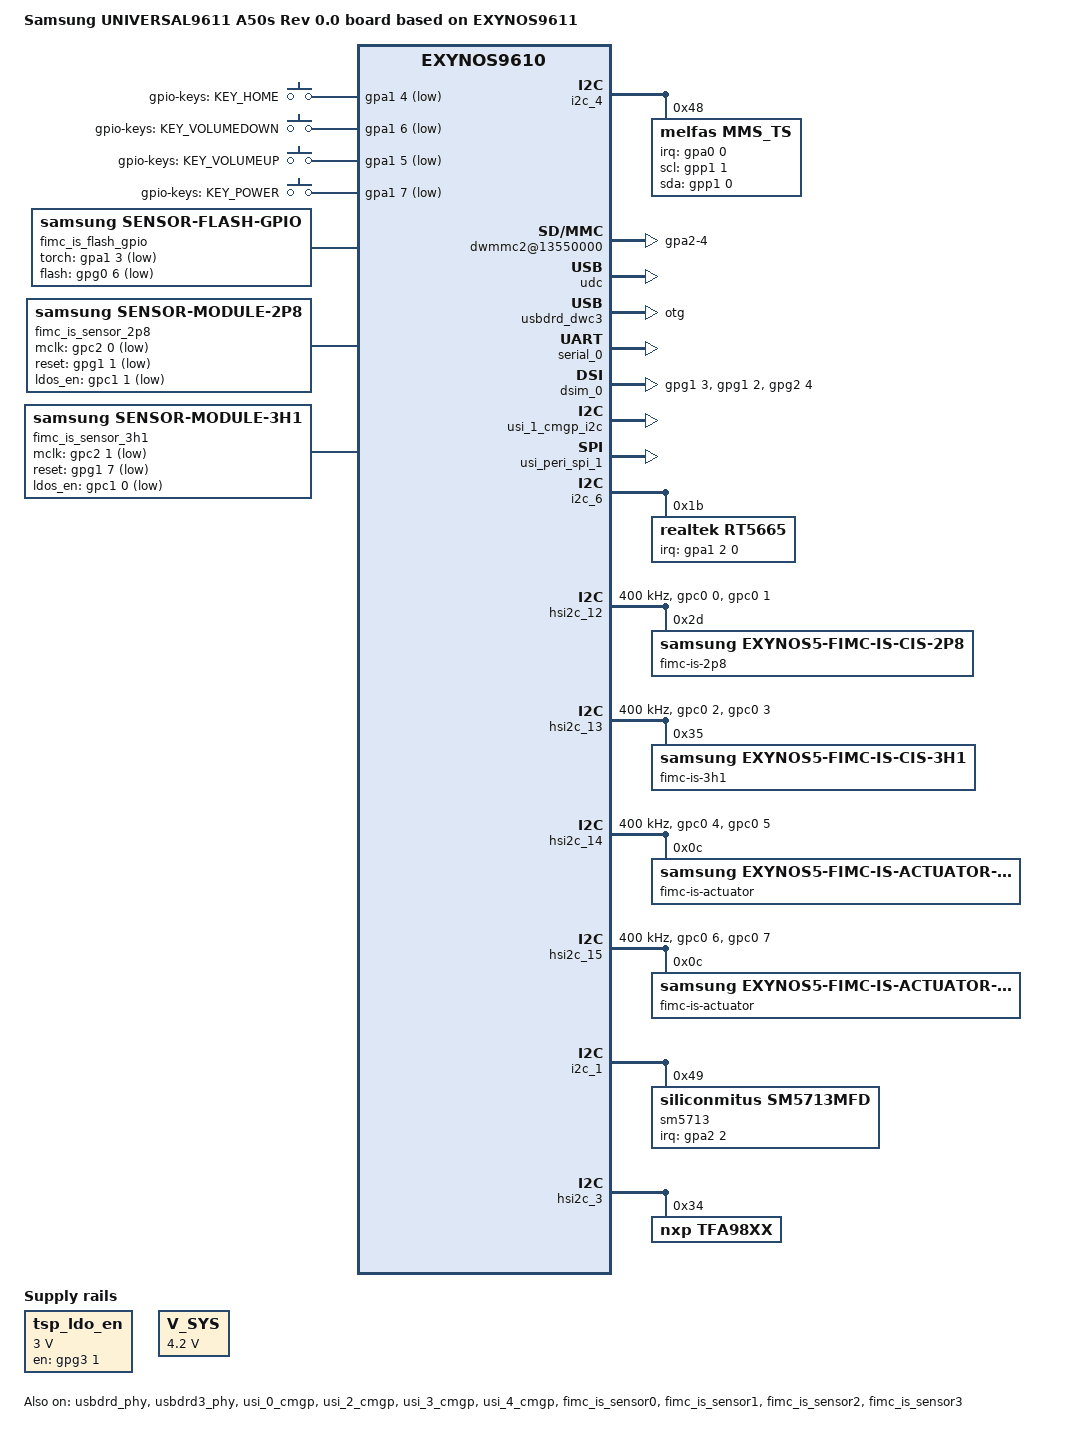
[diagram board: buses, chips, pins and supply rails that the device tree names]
/*
 * SAMSUNG EXYNOS9610 board device tree source
 *
 * Copyright (c) 2018 Samsung Electronics Co., Ltd.
 *		http://www.samsung.com
 *
 * This program is free software; you can redistribute it and/or modify
 * it under the terms of the GNU General Public License version 2 as
 * published by the Free Software Foundation.
 */

/dts-v1/;
/plugin/;

#include "exynos9610_battery_data.dtsi"
#include <dt-bindings/camera/fimc_is.h>
#include <dt-bindings/clock/exynos9610.h>
#include "modem-s337ap-sipc-pdata.dtsi"
#include "exynos9610-display-lcd.dtsi"

/ {
	compatible = "samsung,exynos9610", "samsung,UNIVERSAL9611 A50s Rev 0.0";
	board_id = <0x0>;
	board_rev = <0x0>;

	fragment@model {
		target-path = "/";
		__overlay__ {
			#address-cells = <2>;
			#size-cells = <1>;
			model = "Samsung UNIVERSAL9611 A50s Rev 0.0 board based on EXYNOS9611";

			ect {
				parameter_address = <0x90000000>;
				parameter_size = <0x19000>;
			};

			chosen {
				bootargs = "console=ram skip_initramfs rootwait ro init=/init clk_ignore_unused bcm_setup=0xffffff80f8e00000 androidboot.hardware=exynos9611 androidboot.selinux=permissive androidboot.debug_level=0x4948 firmware_class.path=/vendor/firmware ecd_setup=disable reserve-fimc=0xffffff80fa000000 pmic_info=0x3";
				linux,initrd-start = <0x84000000>;
				linux,initrd-end = <0x841FFFFF>;
			};

			fixed-rate-clocks {
				oscclk {
					compatible = "samsung,exynos9610-oscclk";
					clock-frequency = <26000000>;
				};
			};

			firmware {
				android {
					compatible = "android,firmware";
					vbmeta {
						compatible = "android,vbmeta";
						parts = "vbmeta,boot,system,vendor,product";
					};
					fstab {
						compatible = "android,fstab";
						vendor {
							compatible = "android,vendor";
							dev = "/dev/block/platform/13520000.ufs/by-name/vendor";
							type = "ext4";
							mnt_flags = "ro";
							fsmgr_flags = "wait,avb";
							status = "okay";
						};
						product {
							compatible = "android,product";
							dev = "/dev/block/platform/13520000.ufs/by-name/product";
							type = "ext4";
							mnt_flags = "ro";
							fsmgr_flags = "wait,avb";
						};
					};
				};
			};

			speedy@11a10000 {
				#address-cells = <1>;
				#size-cells = <0>;
				status = "okay";
				s2mpu09mfd@00 {
					compatible = "samsung,s2mpu09mfd";
					acpm-ipc-channel = <2>;
					i2c-speedy-address;
					s2mpu09,wakeup = "enabled";
					s2mpu09,irq-gpio = <&gpa2 0 0>;
					reg = <0x00>;
					interrupts = <2 0 0>;
					interrupt-parent = <&gpa2>;
					pinctrl-names = "default";
					pinctrl-0 = <&pmic_irq &pm_wrsti>;
					/* RTC: wtsr/smpl */
					wtsr_en = "enabled"; /* enable */
					smpl_en = "enabled"; /* enable */
					wtsr_timer_val = <3>;	/* 1000ms */
					smpl_timer_val = <4>;	/* 500ms */
					check_jigon = <0>; /* do not check jigon */
					/* RTC: If it's first boot, reset rtc to 1/1/2017 12:00:00(Sun) */
					init_time,sec = <0>;
					init_time,min = <0>;
					init_time,hour = <12>;
					init_time,mday = <1>;
					init_time,mon = <0>;
					init_time,year = <117>;
					init_time,wday = <0>;

					regulators {
						b1_reg: BUCK1 {
							regulator-name = "vdd_mif";
							regulator-min-microvolt = <500000>;
							regulator-max-microvolt = <1100000>;
							regulator-always-on;
							regulator-ramp-delay = <12000>;
							regulator-initial-mode = <2>;
						};

						b2_reg: BUCK2 {
							regulator-name = "vdd_cpucl1";
							regulator-min-microvolt = <500000>;
							regulator-max-microvolt = <1300000>;
							regulator-always-on;
							regulator-ramp-delay = <12000>;
							regulator-initial-mode = <1>;
						};

						b3_reg: BUCK3 {
							regulator-name = "vdd_cpucl0";
							regulator-min-microvolt = <500000>;
							regulator-max-microvolt = <1300000>;
							regulator-always-on;
							regulator-ramp-delay = <12000>;
							regulator-initial-mode = <1>;
						};

						b4_reg: BUCK4{
							regulator-name = "vdd_int";
							regulator-min-microvolt = <500000>;
							regulator-max-microvolt = <1100000>;
							regulator-always-on;
							regulator-ramp-delay = <12000>;
							regulator-initial-mode = <2>;
						};

						b5_reg: BUCK5 {
							regulator-name = "vdd_g3d";
							regulator-min-microvolt = <500000>;
							regulator-max-microvolt = <1200000>;
							regulator-always-on;
							regulator-ramp-delay = <12000>;
							regulator-initial-mode = <2>;
						};

						b6_reg: BUCK6 {
							regulator-name = "vdd_cam_vipx";
							regulator-min-microvolt = <500000>;
							regulator-max-microvolt = <1300000>;
							regulator-always-on;
							regulator-ramp-delay = <12000>;
							regulator-initial-mode = <2>;
						};

						b7_reg: BUCK7 {
							regulator-name = "vdd2_mem";
							regulator-min-microvolt = <500000>;
							regulator-max-microvolt = <1300000>;
							regulator-always-on;
							regulator-ramp-delay = <12000>;
							regulator-initial-mode = <3>;
						};

						b8_reg: BUCK8 {
							regulator-name = "vdd_lldo";
							regulator-min-microvolt = <1200000>;
							regulator-max-microvolt = <1500000>;
							regulator-always-on;
							regulator-ramp-delay = <12000>;
							regulator-initial-mode = <3>;
						};

						b9_reg: BUCK9 {
							regulator-name = "vdd_mldo";
							regulator-min-microvolt = <1800000>;
							regulator-max-microvolt = <2100000>;
							regulator-always-on;
							regulator-ramp-delay = <12000>;
							regulator-initial-mode = <3>;
						};

						l1_reg: LDO1 {
							regulator-name = "vdd_ldo1";
							regulator-min-microvolt = <700000>;
							regulator-max-microvolt = <1300000>;
							regulator-always-on;
							regulator-ramp-delay = <12000>;
							regulator-initial-mode = <3>;
						};

						l2_reg: LDO2 {
							regulator-name = "vqmmc";
							regulator-min-microvolt = <1800000>;
							regulator-max-microvolt = <3375000>;
							regulator-ramp-delay = <12000>;
						};

						l3_reg: LDO3 {
							regulator-name = "vdd_ldo3";
							regulator-min-microvolt = <800000>;
							regulator-max-microvolt = <1950000>;
							regulator-always-on;
							regulator-ramp-delay = <12000>;
							regulator-initial-mode = <3>;
						};

						l4_reg: LDO4 {
							regulator-name = "vdd_ldo4";
							regulator-min-microvolt = <500000>;
							regulator-max-microvolt = <1100000>;
							regulator-always-on;
							regulator-ramp-delay = <12000>;
							regulator-initial-mode = <1>;
						};

						l5_reg: LDO5 {
							regulator-name = "vdd_ldo5";
							regulator-min-microvolt = <800000>;
							regulator-max-microvolt = <1300000>;
							regulator-always-on;
							regulator-ramp-delay = <12000>;
							regulator-initial-mode = <1>;
						};

						l6_reg: LDO6 {
							regulator-name = "vdd_ldo6";
							regulator-min-microvolt = <800000>;
							regulator-max-microvolt = <1300000>;
							regulator-always-on;
							regulator-ramp-delay = <12000>;
							regulator-initial-mode = <1>;
						};

						l7_reg: LDO7 {
							regulator-name = "vdd_ldo7";
							regulator-min-microvolt = <800000>;
							regulator-max-microvolt = <1950000>;
							regulator-always-on;
							regulator-ramp-delay = <12000>;
							regulator-initial-mode = <1>;
						};

						l8_reg: LDO8 {
							regulator-name = "vdd_ldo8";
							regulator-min-microvolt = <500000>;
							regulator-max-microvolt = <1300000>;
							regulator-always-on;
							regulator-ramp-delay = <12000>;
							regulator-initial-mode = <1>;
						};

						l9_reg: LDO9 {
							regulator-name = "vdd_ldo9";
							regulator-min-microvolt = <500000>;
							regulator-max-microvolt = <1300000>;
							regulator-always-on;
							regulator-ramp-delay = <12000>;
							regulator-initial-mode = <1>;
						};

						l10_reg: LDO10 {
							regulator-name = "vdd_ldo10";
							regulator-min-microvolt = <500000>;
							regulator-max-microvolt = <1300000>;
							regulator-always-on;
							regulator-ramp-delay = <12000>;
							regulator-initial-mode = <1>;
						};

						l11_reg: LDO11 {
							regulator-name = "vdd_ldo11";
							regulator-min-microvolt = <500000>;
							regulator-max-microvolt = <1300000>;
							regulator-always-on;
							regulator-ramp-delay = <12000>;
							regulator-initial-mode = <3>;
						};

						l12_reg: LDO12 {
							regulator-name = "vdd_ldo12";
							regulator-min-microvolt = <800000>;
							regulator-max-microvolt = <1300000>;
							regulator-always-on;
							regulator-ramp-delay = <12000>;
							regulator-initial-mode = <3>;
						};

						l13_reg: LDO13 {
							regulator-name = "vdd_ldo13";
							regulator-min-microvolt = <800000>;
							regulator-max-microvolt = <1950000>;
							regulator-always-on;
							regulator-ramp-delay = <12000>;
							regulator-initial-mode = <3>;
						};

						l14_reg: LDO14 {
							regulator-name = "vdd_ldo14";
							regulator-min-microvolt = <1800000>;
							regulator-max-microvolt = <3375000>;
							regulator-always-on;
							regulator-ramp-delay = <12000>;
							regulator-initial-mode = <3>;
						};

						l33_reg: LDO33 {
							regulator-name = "vdd_ldo33";
							regulator-min-microvolt = <800000>;
							regulator-max-microvolt = <1950000>;
							regulator-ramp-delay = <12000>;
						};

						l34_reg: LDO34 {
							regulator-name = "vdd_ldo34";
							regulator-min-microvolt = <1800000>;
							regulator-max-microvolt = <3375000>;
							regulator-ramp-delay = <12000>;
						};

						l35_reg: LDO35 {
							regulator-name = "vmmc";
							regulator-min-microvolt = <1800000>;
							regulator-max-microvolt = <3375000>;
							regulator-ramp-delay = <12000>;
						};

						l36_reg: LDO36 {
							regulator-name = "vdd_ldo36";
							regulator-min-microvolt = <500000>;
							regulator-max-microvolt = <1300000>;
							regulator-always-on;
							regulator-ramp-delay = <12000>;
							regulator-initial-mode = <1>;
						};

						l37_reg: LDO37 {
							regulator-name = "vdd_ldo37";
							regulator-min-microvolt = <1800000>;
							regulator-max-microvolt = <3375000>;
							regulator-ramp-delay = <12000>;
						};

						l38_reg: LDO38 {
							regulator-name = "vdd_ldo38";
							regulator-min-microvolt = <1800000>;
							regulator-max-microvolt = <3375000>;
							regulator-ramp-delay = <12000>;
							regulator-always-on;
						};

						l39_reg: LDO39 {
							regulator-name = "vdd_ldo39";
							regulator-min-microvolt = <1800000>;
							regulator-max-microvolt = <1800000>;
							regulator-initial-mode = <3>;
						};

						l40_reg: LDO40 {
							regulator-name = "vdd_ldo40";
							regulator-min-microvolt = <3300000>;
							regulator-max-microvolt = <3300000>;
							regulator-initial-mode = <3>;
							regulator-always-on;
						};

						l41_reg: LDO41 {
							regulator-name = "vdd_ldo41";
							regulator-min-microvolt = <1800000>;
							regulator-max-microvolt = <3375000>;
							regulator-ramp-delay = <12000>;
						};

						l42_reg: LDO42 {
							regulator-name = "vdd_ldo42";
							regulator-min-microvolt = <800000>;
							regulator-max-microvolt = <1950000>;
							regulator-ramp-delay = <12000>;
							regulator-always-on;
						};

						l43_reg: LDO43 {
							regulator-name = "vdd_ldo43";
							regulator-min-microvolt = <500000>;
							regulator-max-microvolt = <1300000>;
							regulator-always-on;
							regulator-ramp-delay = <12000>;
							regulator-initial-mode = <1>;
						};

						l44_reg: LDO44 {
							regulator-name = "vdd_ldo44";
							regulator-min-microvolt = <800000>;
							regulator-max-microvolt = <1300000>;
							regulator-ramp-delay = <12000>;
						};
					};
				};
			};

			exynos_rgt {
				compatible = "samsung,exynos-rgt";
			};

			mailbox_cp: mcu_ipc@11920000 {
				compatible = "samsung,exynos-shd-ipc-mailbox";
				reg = <0x0 0x11920000 0x180>;
				mcu,name = "mcu_ipc_cp";
				mcu,id = <0>;
				interrupts = <0 40 0 >;
			};

			mif_pdata {
				/* GPIOs for HW REV */
				/* XGPIO27-AP_REV0, XGPIO28-AP_REV1, XGPIO29-AP_REV2 */
				gpios = <&gpg3 3 0>, <&gpg3 4 0>, <&gpg3 5 0>;
				pinctrl-names = "default";
			};

			mailbox_gnss: mcu_ipc@11A00000 {
				compatible = "samsung,exynos-shd-ipc-mailbox";
				reg = <0x0 0x11A00000 0x180>;
				mcu,name = "mcu_ipc_gnss";
				mcu,id = <1>;
				interrupts = <0 43 0>; /* INTREQ__MAILBOX_GNSS2AP */
			};

			gnss_pdata {
				status = "okay";

				compatible = "samsung,gnss_shdmem_if";
				shmem,name = "KEPLER";
				shmem,device_node_name = "gnss_ipc";

				/* INTREQ__ALIVE_GNSS_ACTIVE, INTREQ__GNSS2AP_WDOG_RESET, INTREQ__GNSS2AP_WAKEUP, INTREQ__GNSS2AP */
				interrupts = <0 27 0>, <0 81 0>, <0 80 0>, <0 79 0>;
				interrupt-names = "ACTIVE", "WATCHDOG", "WAKEUP", "REQ_INIT";

				memory-region = <&gnss_reserved>;
				mbox_info = <&mailbox_gnss>;

				mbx,int_ap2gnss_bcmd = <0>;
				mbx,int_ap2gnss_req_fault_info = <1>;
				mbx,int_ap2gnss_ipc_msg = <2>;
				mbx,int_ap2gnss_ack_wake_set = <3>;
				mbx,int_ap2gnss_ack_wake_clr = <4>;

				mbx,irq_gnss2ap_bcmd = <0>;
				mbx,irq_gnss2ap_rsp_fault_info = <1>;
				mbx,irq_gnss2ap_ipc_msg = <2>;
				mbx,irq_gnss2ap_req_wake_clr = <4>;

				mbx,reg_bcmd_ctrl = <0>, <1>, <2>, <3>;

				reg_rx_ipc_msg = <1 5>;
				reg_tx_ipc_msg = <1 4>;
				reg_rx_head = <1 3>;
				reg_rx_tail = <1 2>;
				reg_tx_head = <1 1>;
				reg_tx_tail = <1 0>;
				fault_info = <1 0x200000 0x180000>;

				shmem,ipc_offset = <0x380000>;
				shmem,ipc_size = <0x80000>;
				shmem,ipc_reg_cnt = <32>;
			};

			gpio_keys {
				#address-cells = <1>;
				#size-cells = <0>;
				compatible = "gpio-keys";
				status = "okay";
				pinctrl-names = "default";
				pinctrl-0 = <&key_home &key_voldown &key_volup &key_power>;
				button@1 {
					label = "gpio-keys: KEY_HOME";
					linux,code = <172>;
					gpios = <&gpa1 4 0xf>;
					gpio-key,wakeup = <1>;
				};
				button@2 {
					label = "gpio-keys: KEY_VOLUMEDOWN";
					linux,code = <114>;
					gpios = <&gpa1 6 0xf>;
				};
				button@3 {
					label = "gpio-keys: KEY_VOLUMEUP";
					linux,code = <115>;
					gpios = <&gpa1 5 0xf>;
				};
				button@4 {
					label = "gpio-keys: KEY_POWER";
					linux,code = <116>;
					gpios = <&gpa1 7 0xf>;
					gpio-key,wakeup = <1>;
				};
			};

			tsp_ldo_en {
				compatible = "regulator-fixed";
				regulator-name = "tsp_ldo_en";
				regulator-min-microvolt = <3000000>;
				regulator-max-microvolt = <3000000>;
				gpio = <&gpg3 1 0>;
				enable-active-high;
			};

			i2c_4:i2c@13870000 {
				status = "okay";
				samsung,i2c-sda-delay = <100>;
				samsung,i2c-max-bus-freq = <400000>;
				#address-cells = <1>;
				#size-cells = <0>;
				mms_ts@48 {
					compatible = "melfas,mms_ts";
					reg = <0x48>;
					pinctrl-names = "on_state", "off_state";
					pinctrl-0 = <&attn_irq>;
					pinctrl-1 = <&attn_input>;
					melfas,vdd_en = "tsp_ldo_en";
					/*melfas,io_en = "tsp_io";*/
					melfas,irq-gpio = <&gpa0 0 0>;
					melfas,scl-gpio = <&gpp1 1 0>;
					melfas,sda-gpio = <&gpp1 0 0>;
					melfas,area-size = <133 266 341>; /* indicator: 24dp navigator:48dp edge:60px dpi=320 */
					melfas,support_lpm = "true";
					melfas,fw_name = "tsp_melfas/mss100_a50.fw";
					melfas,project_name = "A505";
					melfas,bringup = <3>;
				};
			};

			usb_notifier {
				compatible = "samsung,usb-notifier";
				udc = <&udc>;
			};

			V_SYS: fixedregulator@1 {
				compatible = "regulator-fixed";
				regulator-name = "V_SYS";
				regulator-min-microvolt = <4200000>;
				regulator-max-microvolt = <4200000>;
				regulator-boot-on;
				regulator-always-on;
			};

			dummy_audio_codec: audio_codec_dummy {
				status = "okay";
				compatible = "snd-soc-dummy";
			};

			dummy_audio_cpu: audio_cpu_dummy {
				compatible = "samsung,dummy-cpu";
				status = "okay";
			};

			sound {
				status = "okay";
				compatible = "samsung,exynos9610-audio";

				clock-names = "xclkout";
				clocks = <&clock OSC_AUD>;
				pinctrl-names = "default";
				pinctrl-0 = <&xclkout0>;

				samsung,routing =
				"HEADSETMIC", "MICBIAS1",
				"MAINMIC", "MICBIAS2",
					"SUBMIC", "MICBIAS3",
					"IN1P", "HEADSETMIC",
					"IN1N", "HEADSETMIC",
					"IN3P", "MAINMIC",
					"IN3N", "MAINMIC",
					"IN4P", "SUBMIC",
					"IN4N", "SUBMIC",
					"RECEIVER", "MONOOUT",
					"RECEIVER", "MONOOUT",
					"HEADPHONE", "HPOL",
					"HEADPHONE", "HPOR",
					"VOUTPUT", "ABOX UAIF0 Playback",
					"SPEAKER", "ABOX UAIF2 Playback",
					"VOUTPUTCALL", "ABOX SIFS0 Playback",
					"BLUETOOTH SPK", "ABOX SIFS2 Playback",
					"ABOX SIFS2 Capture", "BLUETOOTH MIC",
					"ABOX SIFS0 Capture", "VINPUTCALL";

				samsung,codec = <&abox &abox_uaif_0 &abox_uaif_1 &abox_uaif_2
					&abox_uaif_4 	&abox_dsif &abox_spdy>;
				samsung,prefix = "ABOX", "ABOX", "ABOX", "ABOX",
					"ABOX", "ABOX", "ABOX";
				samsung,aux = <&abox_effect &abox_bt>;

				rdma@0 {
					cpu {
						sound-dai = <&abox 0>;
					};
					platform {
						sound-dai = <&abox_rdma_0>;
					};
					codec {
						sound-dai = <&dummy_audio_codec>;
					};
				};
				rdma@1 {
					cpu {
						sound-dai = <&abox 1>;
					};
					platform {
						sound-dai = <&abox_rdma_1>;
					};
					codec {
						sound-dai = <&dummy_audio_codec>;
					};
				};
				rdma@2 {
					cpu {
						sound-dai = <&abox 2>;
					};
					platform {
						sound-dai = <&abox_rdma_2>;
					};
					codec {
						sound-dai = <&dummy_audio_codec>;
					};
				};
				rdma@3 {
					cpu {
						sound-dai = <&abox 3>;
					};
					platform {
						sound-dai = <&abox_rdma_3>;
					};
					codec {
						sound-dai = <&dummy_audio_codec>;
					};
				};
				rdma@4 {
					cpu {
						sound-dai = <&abox 4>;
					};
					platform {
						sound-dai = <&abox_rdma_4>;
					};
					codec {
						sound-dai = <&dummy_audio_codec>;
					};
				};
				rdma@5 {
					cpu {
						sound-dai = <&abox 5>;
					};
					platform {
						sound-dai = <&abox_rdma_5>;
					};
					codec {
						sound-dai = <&dummy_audio_codec>;
					};
				};
				rdma@6 {
					cpu {
						sound-dai = <&abox 6>;
					};
					platform {
						sound-dai = <&abox_rdma_6>;
					};
					codec {
						sound-dai = <&dummy_audio_codec>;
					};
				};
				rdma@7 {
					cpu {
						sound-dai = <&abox 7>;
					};
					platform {
						sound-dai = <&abox_rdma_7>;
					};
					codec {
						sound-dai = <&dummy_audio_codec>;
					};
				};
				wdma@0 {
					cpu {
						sound-dai = <&abox 8>;
					};
					platform {
						sound-dai = <&abox_wdma_0>;
					};
					codec {
						sound-dai = <&dummy_audio_codec>;
					};
				};
				wdma@1 {
					cpu {
						sound-dai = <&abox 9>;
					};
					platform {
						sound-dai = <&abox_wdma_1>;
					};
					codec {
						sound-dai = <&dummy_audio_codec>;
					};
				};
				wdma@2 {
					cpu {
						sound-dai = <&abox 10>;
					};
					platform {
						sound-dai = <&abox_wdma_2>;
					};
					codec {
						sound-dai = <&dummy_audio_codec>;
					};
				};
				wdma@3 {
					cpu {
						sound-dai = <&abox 11>;
					};
					platform {
						sound-dai = <&abox_wdma_3>;
					};
					codec {
						sound-dai = <&dummy_audio_codec>;
					};
				};
				wdma@4 {
					cpu {
						sound-dai = <&abox 12>;
					};
					platform {
						sound-dai = <&abox_wdma_4>;
					};
					codec {
						sound-dai = <&dummy_audio_codec>;
					};
				};
		/** ToDo: enable dp_audio link after enabling DP Audio
		 *		dp_audio@0 {
		 *			cpu {
		 *				sound-dai = <&dummy_audio_cpu>;
		 *			};
		 *			codec {
		 *				sound-dai = <&dummy_audio_codec>;
		 *			};
		 *		};
		 */
				uaif@0 {
					format = "i2s";
					cpu {
						sound-dai = <&abox_uaif_0>;
					};
					codec {
						sound-dai = <&rt5665 0>;
					};
				};
				uaif@1 {
					format = "i2s";
					cpu {
						sound-dai = <&abox_uaif_1>;
					};
					codec {
						sound-dai = <&dummy_audio_codec>;
					};
				};
				uaif@2 {
					format = "i2s";
					cpu {
						sound-dai = <&abox_uaif_2>;
					};
					platform {
						sound-dai = <&abox_synchronized_ipc 0>;
					};
					codec {
						sound-dai = <&tfa98xx 0>;
					};
				};
				uaif@4 {
					format = "i2s";
					bitclock-master;
					frame-master;
					cpu {
						sound-dai = <&abox_uaif_4>;
					};
					codec {
						sound-dai = <&dummy_audio_codec>;
					};
				};
				dsif@0 {
					format = "pdm";
					cpu {
						sound-dai = <&abox_dsif>;
					};
					codec {
						sound-dai = <&dummy_audio_codec>;
					};
				};
				spdy@0 {
					cpu {
						sound-dai = <&abox_spdy>;
					};
					codec {
						sound-dai = <&dummy_audio_codec>;
					};
				};
				sifs0@0 {
					cpu {
						sound-dai = <&abox 13>;
					};
					codec {
						sound-dai = <&dummy_audio_codec>;
					};
				};
				sifs1@0 {
					cpu {
						sound-dai = <&abox 14>;
					};
					codec {
						sound-dai = <&dummy_audio_codec>;
					};
				};
				sifs2@0 {
					cpu {
						sound-dai = <&abox 15>;
					};
					codec {
						sound-dai = <&dummy_audio_codec>;
					};
				};
			};

			dwmmc2@13550000 {
				status = "okay";
				num-slots = <1>;
				supports-4bit;
				supports-cmd23;
				supports-erase;
				supports-highspeed;
				sd-uhs-sdr50;
				sd-uhs-sdr104;
				card-detect-gpio;
				bypass-for-allpass;
				card-init-hwacg-ctrl;
				skip-init-mmc-scan;
				card-detect-invert;
				qos-dvfs-int-level = <533000>;
				qos-dvfs-mif-level = <676000>;
				fifo-depth = <0x40>;
				desc-size = <4>;
				card-detect-delay = <200>;
				data-timeout = <200>;
				hto-timeout = <80>;
				samsung,dw-mshc-ciu-div = <3>;
				clock-frequency = <800000000>;
				samsung,dw-mshc-sdr-timing = <3 0 2 0>;
				samsung,dw-mshc-ddr-timing = <3 0 2 1>;
				samsung,dw-mshc-sdr50-timing = <3 0 4 2>;
				samsung,dw-mshc-sdr104-timing = <3 0 3 0>;

				num-ref-clks = <9>;
				ciu_clkin = <25 50 50 25 50 100 200 50 50>;

				/* Swapping clock drive strength */
				clk-drive-number = <4>;
				pinctrl-names = "default",
					"fast-slew-rate-1x",
					"fast-slew-rate-2x",
					"fast-slew-rate-3x",
					"fast-slew-rate-4x";
				pinctrl-0 = <&sd2_clk &sd2_cmd &sd2_bus1 &sd2_bus4 &dwmmc2_cd_ext_irq>;
				pinctrl-1 = <&sd2_clk_fast_slew_rate_1x>;
				pinctrl-2 = <&sd2_clk_fast_slew_rate_2x>;
				pinctrl-3 = <&sd2_clk_fast_slew_rate_3x>;
				pinctrl-4 = <&sd2_clk_fast_slew_rate_4x>;

				card-detect = <&gpa2 4 0xf>;
				#address-cells = <1>;
				#size-cells = <0>;

				slot@0 {
					reg = <0>;
					bus-width = <4>;
					disable-wp;
				};
			};

			usb_hs_tune:usb_hs_tune {
				hs_tune_cnt = <12>;

				/* value = <device host> */
				hs_tune1 {
					tune_name = "tx_vref";
					tune_value = <0xf 0xf>;
				};

				hs_tune2 {
					tune_name = "tx_pre_emp";
					tune_value = <0x3 0x3>;
				};

				hs_tune3 {
					tune_name = "tx_pre_emp_plus";
					tune_value = <0x0 0x0>;
				};

				hs_tune4 {
					tune_name = "tx_res";
					tune_value = <0x3 0x3>;
				};

				hs_tune5 {
					tune_name = "tx_rise";
					tune_value = <0x3 0x3>;
				};

				hs_tune6 {
					tune_name = "tx_hsxv";
					tune_value = <0x3 0x3>;
				};

				hs_tune7 {
					tune_name = "tx_fsls";
					tune_value = <0x3 0x3>;
				};

				hs_tune8 {
					tune_name = "rx_sqrx";
					tune_value = <0x7 0x7>;
				};

				hs_tune9 {
					tune_name = "compdis";
					tune_value = <0x7 0x7>;
				};

				hs_tune10 {
					tune_name = "otg";
					tune_value = <0x2 0x2>;
				};

				hs_tune11 {
				/* true : 1, false: 0 */
				/* <enable_user_imp user_imp_value> */
					tune_name = "enable_user_imp";
					tune_value = <0x0 0x0>;
				};

				hs_tune12 {
				/* PHY clk : 1 , FREE clk : 0 */
					tune_name = "is_phyclock";
					tune_value = <0x1 0x1>;
				};
			};

			/* Secure RPMB */
			ufs-srpmb {
				compatible = "samsung,ufs-srpmb";
				interrupts = <0 460 0>;
			};

			usb3_ss_tune:usb3_ss_tune {
				ss_tune_cnt = <15>;

				/* value = <device host> */
				ss_tune1 {
					tune_name = "tx0_term_offset";
					tune_value = <0x0 0x0>;
				};

				ss_tune2 {
					tune_name = "pcs_tx_swing_full";
					tune_value = <0x7f 0x7f>;
				};

				ss_tune3 {
					tune_name = "pcs_tx_deemph_6db";
					tune_value = <0x1c 0x1c>;
				};

				ss_tune4 {
					tune_name = "pcs_tx_deemph_3p5db";
					tune_value = <0x1c 0x1c>;
				};

				ss_tune5 {
					tune_name = "tx_vboost_lvl_sstx";
					tune_value = <0x7 0x7>;
				};

				ss_tune6 {
					tune_name = "tx_vboost_lvl";
					tune_value = <0x4 0x4>;
				};

				ss_tune7 {
					tune_name = "los_level";
					tune_value = <0x9 0x9>;
				};

				ss_tune8 {
					tune_name = "los_bias";
					tune_value = <0x5 0x5>;
				};

				ss_tune9 {
					tune_name = "pcs_rx_los_mask_val";
					tune_value = <0x104 0x104>;
				};

				ss_tune10 {
					tune_name = "tx_eye_height_cntl_en";
					tune_value = <0x1 0x1>;
				};

				ss_tune11 {
					tune_name = "pipe_tx_deemph_update_delay";
					tune_value = <0x2 0x2>;
				};

				ss_tune12 {
					tune_name = "pcs_tx_swing_full_sstx";
					tune_value = <0x7f 0x7f>;
				};
				ss_tune13 {
					tune_name = "rx_eq_fix_val";
					tune_value = <0x2 0x2>;
				};

				ss_tune14 {
					tune_name = "rx_decode_mode";
					tune_value = <0x1 0x1>;
				};

				ss_tune15 {
					tune_name = "decrese_ss_tx_imp";
					tune_value = <0x1 0x1>;
				};
			};

			usb3_hs_tune:usb3_hs_tune {
				hs_tune_cnt = <10>;

				/* value = <device host> */
				hs_tune1 {
					tune_name = "tx_pre_emp";
					tune_value = <0x3 0x3>;
				};

				hs_tune2 {
					tune_name = "tx_pre_emp_plus";
					tune_value = <0x0 0x0>;
				};

				hs_tune3 {
					tune_name = "tx_vref";
					tune_value = <0x7 0x7>;
				};

				hs_tune4 {
					tune_name = "rx_sqrx";
					tune_value = <0x7 0x7>;
				};

				hs_tune5 {
					tune_name = "tx_rise";
					tune_value = <0x3 0x3>;
				};

				hs_tune6 {
					tune_name = "compdis";
					tune_value = <0x7 0x7>;
				};

				hs_tune7 {
					tune_name = "tx_hsxv";
					tune_value = <0x3 0x3>;
				};

				hs_tune8 {
					tune_name = "tx_fsls";
					tune_value = <0x3 0x3>;
				};

				hs_tune9 {
					tune_name = "tx_res";
					tune_value = <0x3 0x3>;
				};

				hs_tune10 {
					tune_name = "utim_clk";
					tune_value = <0x1 0x1>;
				};
			};

			fimc_is_flash_gpio: fimc-is-flash-gpio@0 {
				compatible = "samsung,sensor-flash-gpio";
				id = <0>;
				status = "okay";

				torch-gpio = <&gpa1 3 0x1>;
				flash-gpio = <&gpg0 6 0x1>;
			};

			fimc_is_sensor_2p8: fimc-is_sensor_2p8@20 {
				compatible = "samsung,sensor-module-2p8";

				pinctrl-names = "pin0", "pin1", "pin2", "release";
				pinctrl-0 = <>;
				pinctrl-1 = <&fimc_is_mclk0_out>;
				pinctrl-2 = <&fimc_is_mclk0_fn>;
				pinctrl-3 = <>;

				position = <0>;	/* Rear:0. Front:1. Rear_sub:2. Secure:3. */
				id = <0>; /* fimc_is_sensor id */
				mclk_ch = <0>;
				sensor_i2c_ch = <0>; /* SENSOR_CONTROL_I2C0 */

				gpio_mclk = <&gpc2 0 0x1>;
				gpio_reset = <&gpg1 1 0x1>; /* sensor reset */
				gpio_ldos_en = <&gpc1 1 0x1>; /* CAM LDO all enable */

				power_seq_id = <1>;
				status = "okay";

				af {
					product_name = <7>; /* ACTUATOR_NAME_AK7345 */
					i2c_ch = <2>; /* SENSOR_CONTROL_I2C1 */
				};

				flash {
					product_name = <11>; /* FLASH_GPIO */
				};
			};

			/* FRONT CAMERA */
			fimc_is_sensor_3h1: fimc-is_sensor_3h1@31 {
				compatible = "samsung,sensor-module-3h1";

				pinctrl-names = "pin0", "pin1", "pin2", "release";
				pinctrl-0 = <>;
				pinctrl-1 = <&fimc_is_mclk1_out>;
				pinctrl-2 = <&fimc_is_mclk1_fn>;
				pinctrl-3 = <>;

				position = <1>;	/* Rear:0. Front:1. Rear_sub:2. Secure:3. */
				id = <1>; /* fimc_is_sensor id */
				mclk_ch = <1>;
				sensor_i2c_ch = <1>; /* SENSOR_CONTROL_I2C1 */

				gpio_mclk = <&gpc2 1 0x1>;
				gpio_reset = <&gpg1 7 0x1>; /* sensor reset */
				gpio_ldos_en = <&gpc1 0 0x1>; /* CAM LDO all enable */

				power_seq_id = <1>;
				status = "okay";

				af {
					product_name = <18>; /* ACTUATOR_NAME_AK737X : ak7372 */
					i2c_ch = <3>; /* SENSOR_CONTROL_I2C3 */
				};

				flash {
					product_name = <100>; /* NOTHING */
				};

				ois {
					product_name = <100>; /* NOTHING */
				};

				internal_vc {
					/* DUMMY */
				};
			};
		};
	};
};

&udc {
	status = "okay";
	dwc3 {
		dr_mode = "otg";
		maximum-speed = "high-speed";
	};
};

&usbdrd_dwc3 {
	dr_mode = "otg";
	maximum-speed = "high-speed";

	usb_audio_offloading = <1>;
	abox = <&abox>;
};

&usbdrd_phy {
	status = "okay";
	usb3phy-isolation = <1>;
	hs_tune_param = <&usb_hs_tune>;
};

&usbdrd3_phy {
	status = "okay";
	usb3phy-isolation = <1>;
	hs_tune_param = <&usb3_hs_tune>;
	ss_tune_param = <&usb3_ss_tune>;
};

&serial_0 {
	status = "okay";
};

&pinctrl_1 {
	spk_reset: spk-reset {
		samsung,pins ="gpm24-0";
		samsung,pin-pud = <0>;
	};
	amp_irq: amp-irq {
		samsung,pins ="gpm25-0";
		samsung,pin-function = <0xf>;
		samsung,pin-pud = <0>;
	};
};

&pinctrl_0 {
	key_home: key-home {
		samsung,pins = "gpa1-4";
		samsung,pin-function = <0xf>;
		samsung,pin-pud = <0>;
		samsung,pin-drv = <0>;
	};

	key_voldown: key-voldown {
		samsung,pins = "gpa1-6";
		samsung,pin-function = <0xf>;
		samsung,pin-pud = <0>;
		samsung,pin-drv = <0>;
	};

	key_volup: key-volup {
		samsung,pins = "gpa1-5";
		samsung,pin-function = <0xf>;
		samsung,pin-pud = <0>;
		samsung,pin-drv = <0>;
	};

	key_power: key-power {
		samsung,pins = "gpa1-7";
		samsung,pin-function = <0xf>;
		samsung,pin-pud = <0>;
		samsung,pin-drv = <0>;
	};

	attn_irq: attn-irq {
		samsung,pins = "gpa0-0";
		samsung,pin-function = <0xf>;
		samsung,pin-pud = <0>;
		samsung,pin-drv = <0>;
	};

	attn_input: attn-input {
		samsung,pins = "gpa0-0";
		samsung,pin-function = <0>;
		samsung,pin-pud = <1>;
	};

	if_pmic_irq: if-pmic-irq {
		samsung,pins = "gpa2-2";
		samsung,pin-function = <0>;
		samsung,pin-pud = <0>;
		samsung,pin-drv = <0>;
	};

	pmic_irq: pmic-irq {
		samsung,pins = "gpa2-0";
		samsung,pin-pud = <3>;
		samsung,pin-drv = <3>;
	};

	codec_irq: codec_irq {
		samsung,pins ="gpa1-2";
		samsung,pin-function = <0xf>;
		samsung,pin-pud = <0>;
	};

	dwmmc2_cd_ext_irq: dwmmc2_cd_ext_irq {
		samsung,pins = "gpa2-4";
		samsung,pin-function = <0xf>;
		samsung,pin-pud = <0>;
		samsung,pin-drv = <3>;
	};
};

&pinctrl_4 {
	/* Warm reset information from AP */
	pm_wrsti: pm-wrsti {
		samsung,pins = "gpg0-7";
		samsung,pin-con-pdn = <3>;
	};
};

&fmp_0 {
	 exynos,block-type = "sda";
	 exynos,fips-block_offset = <5>;
};

&dsim_0 {
	lcd_info = <&ea8076>;
	/* reset, VDD18_LCD, VDD_LCD_3PO */
	gpios = <&gpg1 3 0x1>, <&gpg1 2 0x1>, <&gpg2 4 0x1>;
};

/* USI_0_SHUB */
&usi_0_shub {
	status = "disabled";
};

/* USI_SHUB_0_I2C */
&usi_0_shub_i2c {
	/*	usi_v2_mode = "i2c" or "spi" or "uart"	*/
	status = "disabled";
};

/* USI_0_CMGP */
&usi_0_cmgp {
	/*	usi_v2_mode = "i2c" or "spi" or "uart"	*/
	usi_v2_mode = "spi";
	status = "okay";
};

/* USI_0_CMGP_I2C */
&usi_0_cmgp_i2c {
	/*	usi_v2_mode = "i2c" or "spi" or "uart"	*/
	status = "disabled";
};

/* USI_1_CMGP */
&usi_1_cmgp {
	/*	usi_v2_mode = "i2c" or "spi" or "uart"	*/
	status = "disabled";
};

/* USI_1_CMGP_I2C */
&usi_1_cmgp_i2c {
	usi_v2_mode = "i2c";
	status = "okay";
};

/* USI_2_CMGP */
&usi_2_cmgp {
	/*	usi_v2_mode = "i2c" or "spi" or "uart"	*/
	usi_v2_mode = "i2c";
	status = "okay";
};

/* USI_2_CMGP_I2C */
&usi_2_cmgp_i2c {
	/*	usi_v2_mode = "i2c" or "spi" or "uart"	*/
	status = "disabled";
};

/* USI_3_CMGP */
&usi_3_cmgp {
	usi_v2_mode = "i2c";
	status = "okay";
};

/* USI_3_CMGP_I2C */
&usi_3_cmgp_i2c {
	/*	usi_v2_mode = "i2c" or "spi" or "uart"	*/
	status = "disabled";
};

/* USI_4_CMGP */
&usi_4_cmgp {
	usi_v2_mode = "spi";
	status = "okay";
};

/* USI_4_CMGP_I2C */
&usi_4_cmgp_i2c {
	status = "disabled";
};

/* USI_PERI_USI_0 */
&usi_peri_usi_0 {
	/*	usi_v2_mode = "i2c" or "spi" or "uart"	*/
	status = "disabled";
};

/* USI_PERI_USI_0_I2C */
&usi_peri_usi_0_i2c {
	/*	usi_v2_mode = "i2c" or "spi" or "uart"	*/
	status = "disabled";
};

/* USI_PERI_SPI_1 */
&usi_peri_spi_1 {
	usi_v2_mode = "spi";
	status = "okay";
};

&contexthub_0 {
	/* chub irq pin lists */
	chub-irq-pin-len = <1>;
	chub-irq-pin = <&gpm8 0 0>;
	clocks =
		/* SHUB */
		<&clock UMUX_CLKCMU_SHUB_BUS>,
		/* RPR0521, LIS3MDL */
		<&clock CMGP01_USI>,
		/* BMP280 */
		<&clock CMGP03_USI>,
		/* PRP0521, LIS3MDL, BMP280 are all I2C */
		<&clock CMGP_I2C>;
	clock-names =
		"chub_bus",
		"cmgp_usi01",
		"cmgp_usi03",
		"cmgp_i2c";
};

&fimc_is {
	vender {
		rear_sensor_id = <20>; /* 20: 2P8 */
		front_sensor_id = <31>; /* 31: 3H1 */
		rear_second_sensor_id = <0>; /* NOTHING  */
		secure_sensor_id = <0>; /* NOTHING */
	};

	fimc_is_dvfs {
		#define DVFS_INT_CAM_L0 690000
		#define DVFS_INT_CAM_L1 680000
		#define DVFS_INT_CAM_L2 670000
		#define DVFS_INT_CAM_L3 660000
		#define DVFS_INT_CAM_L4 650000

		#define DVFS_INT_L0 667000
		#define DVFS_INT_L1 533000
		#define DVFS_INT_L2 400000
		#define DVFS_INT_L3 200000
		#define DVFS_INT_L4 100000

		#define DVFS_CAM_L0 690000
		#define DVFS_CAM_L1 680000
		#define DVFS_CAM_L2 670000
		#define DVFS_CAM_L3 660000
		#define DVFS_CAM_L4 650000
		#define DVFS_CAM_L5 640000

		#define DVFS_MIF_L0 2093000
		#define DVFS_MIF_L1 2002000
		#define DVFS_MIF_L2 1794000
		#define DVFS_MIF_L3 1539000
		#define DVFS_MIF_L4 1352000
		#define DVFS_MIF_L5 1014000
		#define DVFS_MIF_L6 845000
		#define DVFS_MIF_L7 676000
		#define DVFS_MIF_L8 546000
		#define DVFS_MIF_L9 419000

		table0 {
			desc = "dvfs table v0.0 for 16M/8M";

			default_int_cam = <DVFS_INT_CAM_L0>;
			default_cam = <DVFS_CAM_L0>;
			default_mif = <DVFS_MIF_L0>;
			default_int = <DVFS_INT_L4>;
			default_hpg = <1>;

			front_preview_int_cam = <DVFS_INT_CAM_L0>;
			front_preview_cam = <DVFS_CAM_L0>;
			front_preview_mif = <DVFS_MIF_L0>;
			front_preview_int = <DVFS_INT_L4>;
			front_preview_hpg = <1>;

			front_preview_full_int_cam = <DVFS_INT_CAM_L0>;
			front_preview_full_cam = <DVFS_CAM_L0>;
			front_preview_full_mif = <DVFS_MIF_L0>;
			front_preview_full_int = <DVFS_INT_L4>;
			front_preview_full_hpg = <1>;

			front_capture_int_cam = <DVFS_INT_CAM_L0>;
			front_capture_cam = <DVFS_CAM_L0>;
			front_capture_mif = <DVFS_MIF_L0>;
			front_capture_int = <DVFS_INT_L4>;
			front_capture_hpg = <1>;

			front_video_int_cam = <DVFS_INT_CAM_L0>;
			front_video_cam = <DVFS_CAM_L0>;
			front_video_mif = <DVFS_MIF_L0>;
			front_video_int = <DVFS_INT_L4>;
			front_video_hpg = <1>;

			front_video_capture_int_cam = <DVFS_INT_CAM_L0>;
			front_video_capture_cam = <DVFS_CAM_L0>;
			front_video_capture_mif = <DVFS_MIF_L0>;
			front_video_capture_int = <DVFS_INT_L4>;
			front_video_capture_hpg = <1>;

			front_wide_selfie_int_cam = <DVFS_INT_CAM_L0>;
			front_wide_selfie_cam = <DVFS_CAM_L0>;
			front_wide_selfie_mif = <DVFS_MIF_L0>;
			front_wide_selfie_int = <DVFS_INT_L4>;
			front_wide_selfie_hpg = <1>;

			front_vt1_int_cam = <DVFS_INT_CAM_L0>;
			front_vt1_cam = <DVFS_CAM_L0>;
			front_vt1_mif = <DVFS_MIF_L0>;
			front_vt1_int = <DVFS_INT_L4>;
			front_vt1_hpg = <1>;

			front_vt2_int_cam = <DVFS_INT_CAM_L0>;
			front_vt2_cam = <DVFS_CAM_L0>;
			front_vt2_mif = <DVFS_MIF_L0>;
			front_vt2_int = <DVFS_INT_L4>;
			front_vt2_hpg = <1>;

			front_vt4_int_cam = <DVFS_INT_CAM_L0>;
			front_vt4_cam = <DVFS_CAM_L0>;
			front_vt4_mif = <DVFS_MIF_L0>;
			front_vt4_int = <DVFS_INT_L4>;
			front_vt4_hpg = <1>;

			rear_preview_fhd_int_cam = <DVFS_INT_CAM_L0>;
			rear_preview_fhd_cam = <DVFS_CAM_L0>;
			rear_preview_fhd_mif = <DVFS_MIF_L0>;
			rear_preview_fhd_int = <DVFS_INT_L4>;
			rear_preview_fhd_hpg = <1>;

			rear_preview_hd_int_cam = <DVFS_INT_CAM_L0>;
			rear_preview_hd_cam = <DVFS_CAM_L0>;
			rear_preview_hd_mif = <DVFS_MIF_L0>;
			rear_preview_hd_int = <DVFS_INT_L4>;
			rear_preview_hd_hpg = <1>;

			rear_preview_uhd_int_cam = <DVFS_INT_CAM_L0>;
			rear_preview_uhd_cam = <DVFS_CAM_L0>;
			rear_preview_uhd_mif = <DVFS_MIF_L0>;
			rear_preview_uhd_int = <DVFS_INT_L4>;
			rear_preview_uhd_hpg = <1>;

			rear_preview_full_int_cam = <DVFS_INT_CAM_L0>;
			rear_preview_full_cam = <DVFS_CAM_L0>;
			rear_preview_full_mif = <DVFS_MIF_L0>;
			rear_preview_full_int = <DVFS_INT_L4>;
			rear_preview_full_hpg = <1>;

			rear_capture_int_cam = <DVFS_INT_CAM_L0>;
			rear_capture_cam = <DVFS_CAM_L0>;
			rear_capture_mif = <DVFS_MIF_L0>;
			rear_capture_int = <DVFS_INT_L4>;
			rear_capture_hpg = <1>;

			rear_video_fhd_int_cam = <DVFS_INT_CAM_L0>;
			rear_video_fhd_cam = <DVFS_CAM_L0>;
			rear_video_fhd_mif = <DVFS_MIF_L0>;
			rear_video_fhd_int = <DVFS_INT_L4>;
			rear_video_fhd_hpg = <1>;

			rear_video_hd_int_cam = <DVFS_INT_CAM_L0>;
			rear_video_hd_cam = <DVFS_CAM_L0>;
			rear_video_hd_mif = <DVFS_MIF_L0>;
			rear_video_hd_int = <DVFS_INT_L4>;
			rear_video_hd_hpg = <1>;

			rear_video_uhd_int_cam = <DVFS_INT_CAM_L0>;
			rear_video_uhd_cam = <DVFS_CAM_L0>;
			rear_video_uhd_mif = <DVFS_MIF_L0>;
			rear_video_uhd_int = <DVFS_INT_L4>;
			rear_video_uhd_hpg = <1>;

			rear_video_fhd_capture_int_cam = <DVFS_INT_CAM_L0>;
			rear_video_fhd_capture_cam = <DVFS_CAM_L0>;
			rear_video_fhd_capture_mif = <DVFS_MIF_L0>;
			rear_video_fhd_capture_int = <DVFS_INT_L4>;
			rear_video_fhd_capture_hpg = <1>;

			rear_video_hd_capture_int_cam = <DVFS_INT_CAM_L0>;
			rear_video_hd_capture_cam = <DVFS_CAM_L0>;
			rear_video_hd_capture_mif = <DVFS_MIF_L0>;
			rear_video_hd_capture_int = <DVFS_INT_L4>;
			rear_video_hd_capture_hpg = <1>;

			rear_video_uhd_capture_int_cam = <DVFS_INT_CAM_L0>;
			rear_video_uhd_capture_cam = <DVFS_CAM_L0>;
			rear_video_uhd_capture_mif = <DVFS_MIF_L0>;
			rear_video_uhd_capture_int = <DVFS_INT_L4>;
			rear_video_uhd_capture_hpg = <1>;

			secure_front_int_cam = <DVFS_INT_CAM_L0>;
			secure_front_cam = <DVFS_CAM_L0>;
			secure_front_mif = <DVFS_MIF_L0>;
			secure_front_int = <DVFS_INT_L4>;
			secure_front_hpg = <1>;

			pip_preview_int_cam = <DVFS_INT_CAM_L0>;
			pip_preview_cam = <DVFS_CAM_L0>;
			pip_preview_mif = <DVFS_MIF_L0>;
			pip_preview_int = <DVFS_INT_L4>;
			pip_preview_hpg = <1>;

			pip_capture_int_cam = <DVFS_INT_CAM_L0>;
			pip_capture_cam = <DVFS_CAM_L0>;
			pip_capture_mif = <DVFS_MIF_L0>;
			pip_capture_int = <DVFS_INT_L4>;
			pip_capture_hpg = <1>;

			pip_video_int_cam = <DVFS_INT_CAM_L0>;
			pip_video_cam = <DVFS_CAM_L0>;
			pip_video_mif = <DVFS_MIF_L0>;
			pip_video_int = <DVFS_INT_L4>;
			pip_video_hpg = <1>;

			pip_video_capture_int_cam = <DVFS_INT_CAM_L0>;
			pip_video_capture_cam = <DVFS_CAM_L0>;
			pip_video_capture_mif = <DVFS_MIF_L0>;
			pip_video_capture_int = <DVFS_INT_L4>;
			pip_video_capture_hpg = <1>;

			preview_high_speed_fps_int_cam = <DVFS_INT_CAM_L0>;
			preview_high_speed_fps_cam = <DVFS_CAM_L0>;
			preview_high_speed_fps_mif = <DVFS_MIF_L0>;
			preview_high_speed_fps_int = <DVFS_INT_L4>;
			preview_high_speed_fps_hpg = <1>;

			video_high_speed_60fps_int_cam = <DVFS_INT_CAM_L0>;
			video_high_speed_60fps_cam = <DVFS_CAM_L0>;
			video_high_speed_60fps_mif = <DVFS_MIF_L0>;
			video_high_speed_60fps_int = <DVFS_INT_L4>;
			video_high_speed_60fps_hpg = <1>;

			video_high_speed_480fps_int_cam = <DVFS_INT_CAM_L0>;
			video_high_speed_480fps_cam = <DVFS_CAM_L0>;
			video_high_speed_480fps_mif = <DVFS_MIF_L0>;
			video_high_speed_480fps_int = <DVFS_INT_L0>;
			video_high_speed_480fps_hpg = <1>;

			video_high_speed_60fps_capture_int_cam = <DVFS_INT_CAM_L0>;
			video_high_speed_60fps_capture_cam = <DVFS_CAM_L0>;
			video_high_speed_60fps_capture_mif = <DVFS_MIF_L0>;
			video_high_speed_60fps_capture_int = <DVFS_INT_L4>;
			video_high_speed_60fps_capture_hpg = <1>;

			ext_front_int_cam = <DVFS_INT_CAM_L0>;
			ext_front_cam = <DVFS_CAM_L0>;
			ext_front_mif = <DVFS_MIF_L0>;
			ext_front_int = <DVFS_INT_L4>;
			ext_front_hpg = <1>;

			ext_secure_int_cam = <DVFS_INT_CAM_L0>;
			ext_secure_cam = <DVFS_CAM_L0>;
			ext_secure_mif = <DVFS_MIF_L0>;
			ext_secure_int = <DVFS_INT_L4>;
			ext_secure_hpg = <1>;

			max_int_cam = <DVFS_INT_CAM_L0>;
			max_cam = <DVFS_CAM_L0>;
			max_mif = <DVFS_MIF_L0>;
			max_int = <DVFS_INT_L0>;
			max_hpg = <1>;
		};
	};
};

&fimc_is_sensor0 {
	scenario = <SENSOR_SCENARIO_NORMAL>;	/* Normal, Vision, OIS etc */
	id = <0>;
	csi_ch = <0>;
	dma_ch = <0 0 0 0 0 1 1 1>;
	vc_ch = <0 1 2 3 0 1 2 3>;
	flite_ch = <FLITE_ID_NOTHING>;
	is_bns = <0>;
	/* use_ssvc1_internal; */
	/* use_ssvc2_internal; */
	status = "okay";
};

&fimc_is_sensor1 {
	scenario = <SENSOR_SCENARIO_NORMAL>;	/* Normal, Vision, OIS etc */
	id = <2>;
	csi_ch = <1>;
	dma_ch = <2 2 2 2 2 1 1 1>;
	vc_ch = <0 1 2 3 1 2 1 3>;
	flite_ch = <FLITE_ID_NOTHING>;
	is_bns = <0>;
	status = "okay";
};

&fimc_is_sensor2 {
	scenario = <SENSOR_SCENARIO_NORMAL>;	/* Normal, Vision, OIS etc */
	id = <1>;
	csi_ch = <2>;
	dma_ch = <2 2 2 2>;
	vc_ch = <0 1 2 3>;
	flite_ch = <FLITE_ID_NOTHING>;
	is_bns = <0>;
	status = "okay";
};

&fimc_is_sensor3 {
	scenario = <SENSOR_SCENARIO_SECURE>;	/* Normal, Vision, OIS etc */
	id = <3>;
	csi_ch = <3>;
	dma_ch = <3 3 3 3>;
	vc_ch = <0 1 2 3>;
	flite_ch = <FLITE_ID_NOTHING>;
	is_bns = <0>;
	status = "okay";
};

&i2c_6 {
	#address-cells = <1>;
	#size-cells = <0>;
	status = "okay";
	rt5665: rt5665@1b {
		compatible = "realtek,rt5665";
		reg = <0x1b>;
		pinctrl-names = "default";
		pinctrl-0 = <&codec_irq>;
		interrupt-parent = <&gpa1>;
		interrupts = <2 0 0>;
		#sound-dai-cells = <1>;
		realtek,in1-differential;
		realtek,in3-differential;
		realtek,in4-differential;
		realtek,jd-src = <2>;
		realtek,dmic2-data-pin =<2>;
		realtek,sar-hs-type = <614>;
		realtek,sar-pb-vth0 = <110>;
		realtek,sar-pb-vth1 = <135>;
		realtek,sar-pb-vth2 = <255>;
		realtek,sar-pb-vth3 = <700>;
		imp_table = <
			/*min max gain bias*/
			0x0000 0x000d 0 6 // 8 ohm
			0x000e 0x0019 0 6 // 16 ohm
			0x001a 0x0035 0 6 // 32 ohm
			0x0036 0x0067 0 1 // 64 ohm
			0x0068 0xffff 0 1 // > 100 ohm
		>;

		realtek,regulator_1v8 = <&l42_reg>;
		realtek,regulator_3v3 = <&l40_reg>;
	};
};

/* I2C_CAM0 */ /* SENSOR_CONTROL_I2C0 */
&hsi2c_12 {
	#address-cells = <1>;
	#size-cells = <0>;
	gpios = <&gpc0 0 0 &gpc0 1 0>;
	status = "okay";
	clock-frequency = <400000>;
	samsung,reset-before-trans;
	samsung,polling-mode;

	fimc-is-2p8@2d {
		compatible = "samsung,exynos5-fimc-is-cis-2p8";
		reg = <0x2d>; /* 1 bit right shift */
		id = <0>; /* matching fimc_is_sensor id */
		setfile = "setA";
	};
};

/* I2C_CAM1 */ /* SENSOR_CONTROL_I2C1 */
&hsi2c_13 {
	#address-cells = <1>;
	#size-cells = <0>;
	gpios = <&gpc0 2 0 &gpc0 3 0>;
	status = "okay";
	clock-frequency = <400000>;
	samsung,reset-before-trans;
		fimc-is-3h1@35 {
		compatible = "samsung,exynos5-fimc-is-cis-3h1";
		reg = <0x35>; /* 1 bit right shift */
		id = <1>; /* matching fimc_is_sensor id */
		setfile = "setA";
	};
};

/* I2C_CAM2 */ /* SENSOR_CONTROL_I2C2 */
&hsi2c_14 {
	#address-cells = <1>;
	#size-cells = <0>;
	gpios = <&gpc0 4 0 &gpc0 5 0>;
	status = "okay";
	clock-frequency = <400000>;
	samsung,reset-before-trans;
	fimc-is-actuator@0C {
		compatible = "samsung,exynos5-fimc-is-actuator-ak7345";
		reg = <0x0C>; /* 1 bit right shift */
		id = <0>; /* matching fimc_is_sensor id */
	};
};

/* I2C_CAM3 */ /* SENSOR_CONTROL_I2C3 */
&hsi2c_15 {
	#address-cells = <1>;
	#size-cells = <0>;
	gpios = <&gpc0 6 0 &gpc0 7 0>;
	status = "okay";
	clock-frequency = <400000>;
	samsung,reset-before-trans;
		fimc-is-actuator@0F {
		compatible = "samsung,exynos5-fimc-is-actuator-ak737x";
		reg = <0x0C>; /* 1 bit right shift */
		id = <1>; /* matching fimc_is_sensor id */
		/* AK7372: addr 0x03, data 0x0C */
		/* AK7371: addr 0x03, data 0x09 */
		vendor_product_id = <0x03 0x0C>;
		vendor_first_pos = <120>;
		vendor_first_delay = <10000>;
	};
};

&i2c_1 {
	#address-cells = <1>;
	#size-cells = <0>;
	status = "okay";
	sm5713@49{
		compatible = "siliconmitus,sm5713mfd";
		reg = <0x49>;
		pinctrl-names = "default";
		pinctrl-0 = <&chg_en &if_pmic_irq>;
		sm5713,irq-gpio = <&gpa2 2 0>;
		sm5713,wakeup;
	};
};

&hsi2c_3 {
	#address-cells = <1>;
	#size-cells = <0>;
	status = "okay";
	tfa98xx: tfa98xx@34 {
		compatible = "nxp,tfa98xx";
		#sound-dai-cells = <1>;
		reg = <0x34>;
	};
};

